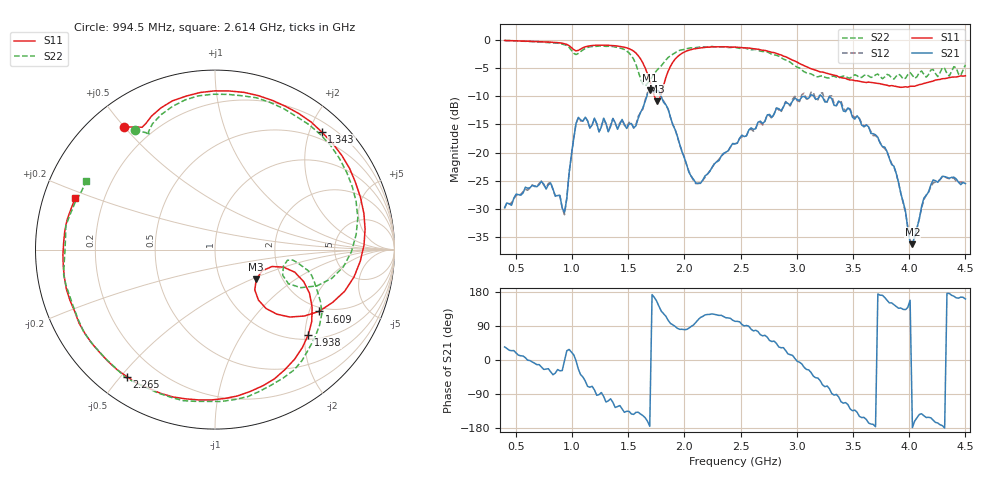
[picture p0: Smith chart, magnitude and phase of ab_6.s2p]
! Anritsu VNA Master:  Model: MS2036C/2
! SN:  2120025
! /bd0/ab_6.s2p
! Existing Calibration Information:
! TYPE:  Current Settings,  Active Cal Settings
! TIME:  03/02/2026 03:08:19 AM,  03/02/2026 02:47:23 AM
! INTERNAL TEMP:  54.3 C,  51.8 C
! # POINTS:  201,  201
! START FREQ:  400.000 MHz,  400.000 MHz
! STOP FREQ:  4.500 GHz,  4.500 GHz
! SOURCE POWER:  High,  High
! IFBW:  10 kHz,  10 kHz
! AVG FACTOR:  1 ,  1
! REF PLANE 1:  0 mm,  0 mm
! REF PLANE 2:  0 mm,  0 mm
! CAL TYPE:  Full 2 Port,  Full 2 Port
! CAL METHOD:  SOLT,  SOLT
! CAL LINE TYPE:  Coax,  Coax
! DUT PORT 1:  N-Conn(M),  N-Conn(M)
! DUT PORT 2:  N-Conn(M),  N-Conn(M)
! CAL STATUS:  OK: Accuracy High,  --
# GHZ S DB R 50.0
! FREQ.GHZ  S11DB  S11A  S21DB  S21A  S12DB  S12A  S22DB  S22A
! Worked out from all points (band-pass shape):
!   201 points, 400 MHz to 4.5 GHz, reference 50 ohm
!   highest |S21| = -9.00 dB at 1.692 GHz (marker M1); lowest = -36.2 dB at 4.029 GHz (marker M2)
!   |S21| within 3 dB of the highest: 1.632 GHz to 1.847 GHz (215.5 MHz wide, 12.4 % of centre); 2.879 GHz to 3.404 GHz (525.3 MHz wide, 16.7 % of centre)
!   lowest |S11| = -11.0 dB at 1.753 GHz (marker M3), VSWR 1.79, Z = 74.1 - j26.7 ohm
!   |S11| at or under -10 dB: 1.732 GHz to 1.787 GHz (54.82 MHz wide, 3.12 % of centre)
!   |S22| runs from -8.1 to -0.2 dB; largest |S21 - S12| = 0.029
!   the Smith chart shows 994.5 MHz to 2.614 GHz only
!   S11 on the Smith chart (normalised r, x): 994.5 MHz: 0.10, +0.50; 1.343 GHz: 0.37, +2.21; 1.609 GHz: 1.85, -2.33; 1.938 GHz: 1.11, -2.08; 2.265 GHz: 0.09, -0.52; 2.614 GHz: 0.10, +0.18
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0.4  -0.17 -88.8  -29.74 34.5  -29.85 37.7  -0.17 -89.6
0.728  -0.39 -165.4  -25.11 -18.7  -25.02 -18.7  -0.46 -167.0
0.933  -0.75 142.8  -30.55 -2.1  -30.98 -1.1  -0.91 140.4
0.9945  -1.42 126.5  -20.36 21.0  -20.42 21.1  -1.92 124.0
1.097  -1.46 110.9  -14.43 -44.9  -14.41 -44.7  -1.84 111.8
1.343  -1.06 47.8  -15.38 -102.4  -15.15 -102.8  -1.22 47.7
1.4865  -1.47 7.8  -15.73 -135.2  -15.50 -133.5  -2.04 6.1
1.6095  -3.43 -30.7  -12.90 -142.6  -12.91 -144.7  -6.92 -24.9
1.6915  -7.24 -49.1  -9.00 -174.9  -9.22 -177.0  -7.18 -7.7
1.753  -10.95 -35.8  -9.02 155.4  -8.96 153.2  -5.49 -12.7
1.7735  -10.82 -24.3  -9.10 141.5  -9.31 140.6  -5.07 -14.9
1.9375  -3.05 -42.4  -17.12 83.7  -17.18 82.8  -2.10 -51.9
2.2655  -1.29 -124.7  -22.02 120.6  -21.97 120.4  -1.30 -129.9
2.45  -1.34 -165.1  -18.43 102.1  -18.45 102.2  -1.36 -170.6
2.614  -1.62 159.9  -15.90 76.8  -16.21 78.1  -1.80 152.1
2.86  -2.73 108.1  -12.60 32.4  -12.84 34.6  -3.21 98.1
3.147  -5.30 56.4  -9.89 -42.5  -9.37 -43.2  -6.29 48.5
3.516  -7.29 -9.4  -14.07 -132.3  -13.78 -134.9  -6.23 -25.5
3.8235  -8.21 -85.2  -21.04 150.6  -20.95 151.3  -6.32 -112.4
4.0285  -8.26 -143.5  -36.24 -178.3  -36.54 179.3  -6.33 -168.4
4.213  -7.35 161.8  -24.84 -158.6  -25.37 -158.5  -5.30 144.3
4.5  -6.42 85.0  -25.48 160.9  -25.36 163.8  -4.47 79.7
